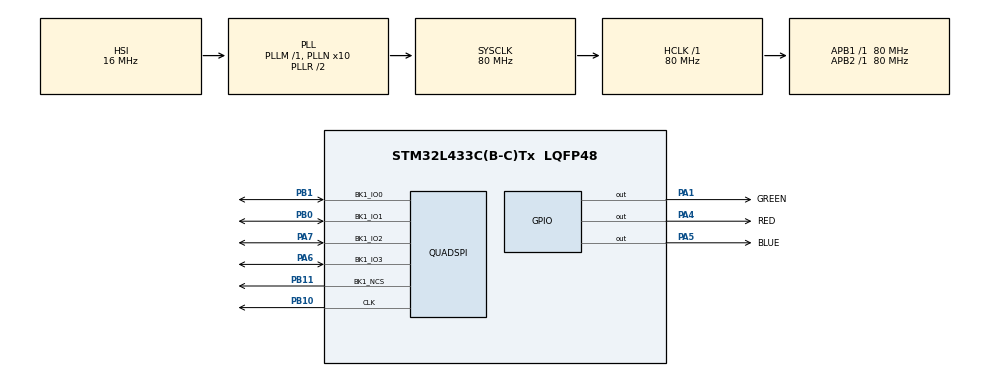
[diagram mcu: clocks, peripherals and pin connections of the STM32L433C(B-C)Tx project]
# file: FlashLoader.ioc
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Mcu.Family=STM32L4
Mcu.Name=STM32L433C(B-C)Tx
Mcu.Package=LQFP48
NVIC.PriorityGroup=NVIC_PRIORITYGROUP_4
PA1.GPIO_Label=GREEN
PA1.Signal=GPIO_Output
PA13\ (JTMS-SWDIO).Mode=Serial_Wire
PA13\ (JTMS-SWDIO).Signal=SYS_JTMS-SWDIO
PA14\ (JTCK-SWCLK).Mode=Serial_Wire
PA14\ (JTCK-SWCLK).Signal=SYS_JTCK-SWCLK
PA4.GPIO_Label=RED
PA4.Signal=GPIO_Output
PA5.GPIO_Label=BLUE
PA5.Signal=GPIO_Output
PA6.Mode=Single Bank 1
PA6.Signal=QUADSPI_BK1_IO3
PA7.Mode=Single Bank 1
PA7.Signal=QUADSPI_BK1_IO2
PB0.Mode=Single Bank 1
PB0.Signal=QUADSPI_BK1_IO1
PB1.Mode=Single Bank 1
PB1.Signal=QUADSPI_BK1_IO0
PB10.GPIO_PuPd=GPIO_PULLUP
PB10.Mode=Single Bank 1
PB10.Signal=QUADSPI_CLK
PB11.GPIO_PuPd=GPIO_PULLUP
PB11.Mode=Single Bank 1
PB11.Signal=QUADSPI_BK1_NCS
ProjectManager.HeapSize=0x200
ProjectManager.StackSize=0x1000
ProjectManager.TargetToolchain=CMake
QUADSPI.ChipSelectHighTime=QSPI_CS_HIGH_TIME_4_CYCLE
QUADSPI.ClockMode=QSPI_CLOCK_MODE_0
QUADSPI.ClockPrescaler=1
QUADSPI.FifoThreshold=4
QUADSPI.FlashSize=0x14
QUADSPI.SampleShifting=QSPI_SAMPLE_SHIFTING_HALFCYCLE
RCC.ADCFreq_Value=64000000
RCC.AHBFreq_Value=80000000
RCC.APB1Freq_Value=80000000
RCC.APB1TimFreq_Value=80000000
RCC.APB2Freq_Value=80000000
RCC.APB2TimFreq_Value=80000000
RCC.CortexFreq_Value=80000000
RCC.HCLKFreq_Value=80000000
RCC.HSE_VALUE=26000000
RCC.HSI48_VALUE=48000000
RCC.HSI_VALUE=16000000
RCC.LSE_VALUE=32768
RCC.MSI_VALUE=4000000
RCC.PLLN=10
RCC.PLLSourceVirtual=RCC_PLLSOURCE_HSI
RCC.SYSCLKFreq_VALUE=80000000
RCC.SYSCLKSource=RCC_SYSCLKSOURCE_PLLCLK
RCC.USBFreq_Value=64000000
RCC.VCOOutputFreq_Value=160000000
board=custom

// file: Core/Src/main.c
/* USER CODE BEGIN Header */
/**
  ******************************************************************************
  * @file           : main.c
  * @brief          : Main program body
  ******************************************************************************
  * @attention
  *
  * Copyright (c) 2024 STMicroelectronics.
  * All rights reserved.
  *
  * This software is licensed under terms that can be found in the LICENSE file
  * in the root directory of this software component.
  * If no LICENSE file comes with this software, it is provided AS-IS.
  *
  ******************************************************************************
  */
/* USER CODE END Header */
#include "main.h"
#include "gpio.h"

/* USER CODE BEGIN Includes */
#include "w25qxx.h"
/* USER CODE END Includes */

/* USER CODE BEGIN PTD */
int Init(void) ;
int Read(uint32_t Address, uint32_t Size, uint8_t *Buffer) ;
int Write(uint32_t Address, uint32_t Size, uint8_t *buffer) ;
int SectorErase(uint32_t EraseStartAddress, uint32_t EraseEndAddress) ;
int MassErase(void) ;
uint32_t CheckSum(uint32_t StartAddress, uint32_t Size, uint32_t InitVal) ;
uint64_t Verify(uint32_t MemoryAddr, uint32_t RAMBufferAddr, uint32_t Size, uint32_t missalignement) ;
/* USER CODE END PTD */

/* USER CODE BEGIN PD */
static uint8_t read[256];
/* USER CODE END PD */

void SystemClock_Config(void);

/* USER CODE BEGIN 0 */
HAL_StatusTypeDef HAL_InitTick(uint32_t TickPriority)
{
  (void)TickPriority;
  return HAL_OK;
}

uint32_t HAL_GetTick(void)
{
  return 1;
}

void HAL_Delay(uint32_t Delay)
{
  (void)Delay;
  for (volatile int i=0; i<0x100000; i++)
  {
    __asm__ __volatile__("nop");
  }
}

/* USER CODE END 0 */

int main(void)
{

  /* MCU Configuration--------------------------------------------------------*/

  /* Reset of all peripherals, Initializes the Flash interface and the Systick. */
  HAL_Init();

  /* Configure the system clock */
  SystemClock_Config();

  /* Initialize all configured peripherals */
  MX_GPIO_Init();
  /* USER CODE BEGIN 2 */
  Init();
  w25qxx_erase_sector(0);
  Init();
  w25qxx_read(read, 0, sizeof(read));
  Init();
  Write(0x90000000, 5, (uint8_t *)"hello");
  Init();
  Read(0x90000000, sizeof(read), read);
  Init();
  w25qxx_read(read, 0, sizeof(read));
  /* USER CODE END 2 */

  /* Infinite loop */
  while (1)
  {

  }
}

void SystemClock_Config(void)
{
  RCC_OscInitTypeDef RCC_OscInitStruct = {0};
  RCC_ClkInitTypeDef RCC_ClkInitStruct = {0};

  /** Configure the main internal regulator output voltage
  */
  if (HAL_PWREx_ControlVoltageScaling(PWR_REGULATOR_VOLTAGE_SCALE1) != HAL_OK)
  {
    Error_Handler();
  }

  /** Initializes the RCC Oscillators according to the specified parameters
  * in the RCC_OscInitTypeDef structure.
  */
  RCC_OscInitStruct.OscillatorType = RCC_OSCILLATORTYPE_HSI;
  RCC_OscInitStruct.HSIState = RCC_HSI_ON;
  RCC_OscInitStruct.HSICalibrationValue = RCC_HSICALIBRATION_DEFAULT;
  RCC_OscInitStruct.PLL.PLLState = RCC_PLL_ON;
  RCC_OscInitStruct.PLL.PLLSource = RCC_PLLSOURCE_HSI;
  RCC_OscInitStruct.PLL.PLLM = 1;
  RCC_OscInitStruct.PLL.PLLN = 10;
  RCC_OscInitStruct.PLL.PLLP = RCC_PLLP_DIV7;
  RCC_OscInitStruct.PLL.PLLQ = RCC_PLLQ_DIV2;
  RCC_OscInitStruct.PLL.PLLR = RCC_PLLR_DIV2;
  if (HAL_RCC_OscConfig(&RCC_OscInitStruct) != HAL_OK)
  {
    Error_Handler();
  }

  /** Initializes the CPU, AHB and APB buses clocks
  */
  RCC_ClkInitStruct.ClockType = RCC_CLOCKTYPE_HCLK|RCC_CLOCKTYPE_SYSCLK
                              |RCC_CLOCKTYPE_PCLK1|RCC_CLOCKTYPE_PCLK2;
  RCC_ClkInitStruct.SYSCLKSource = RCC_SYSCLKSOURCE_PLLCLK;
  RCC_ClkInitStruct.AHBCLKDivider = RCC_SYSCLK_DIV1;
  RCC_ClkInitStruct.APB1CLKDivider = RCC_HCLK_DIV1;
  RCC_ClkInitStruct.APB2CLKDivider = RCC_HCLK_DIV1;

  if (HAL_RCC_ClockConfig(&RCC_ClkInitStruct, FLASH_LATENCY_4) != HAL_OK)
  {
    Error_Handler();
  }
}

void Error_Handler(void)
{
  __disable_irq();
  while (1)
  {
  }
}
